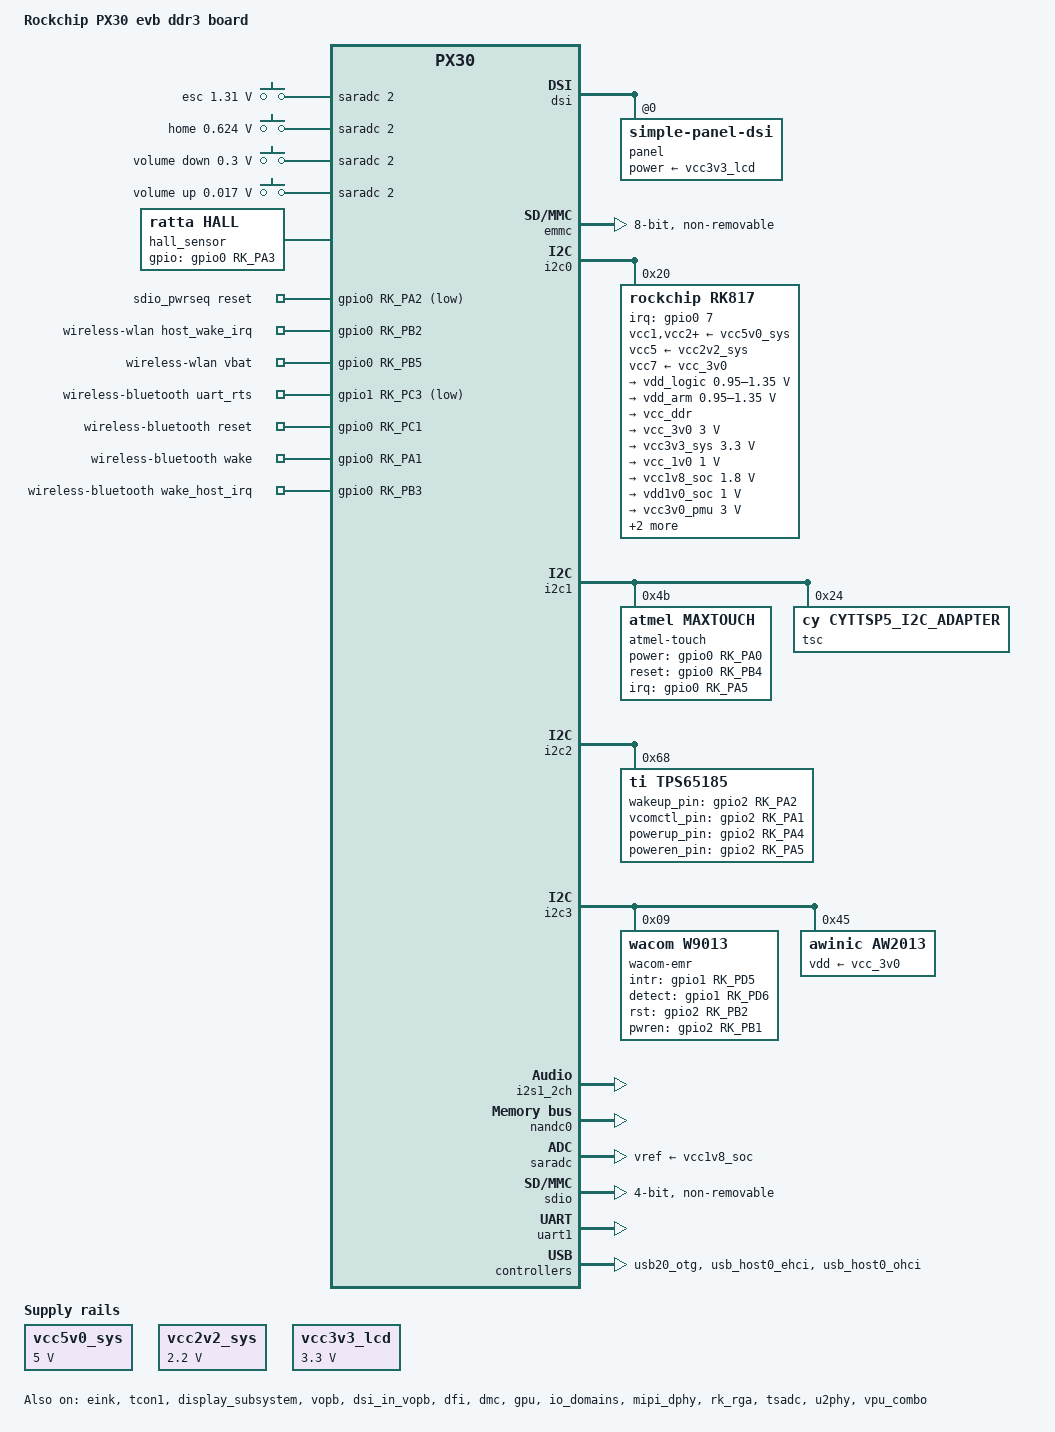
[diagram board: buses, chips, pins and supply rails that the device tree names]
/*
 * Copyright (c) 2017 Fuzhou Rockchip Electronics Co., Ltd
 *
 * SPDX-License-Identifier: (GPL-2.0+ OR MIT)
 */

/dts-v1/;
#include <dt-bindings/gpio/gpio.h>
#include <dt-bindings/pinctrl/rockchip.h>
#include <dt-bindings/input/input.h>
#include <dt-bindings/display/drm_mipi_dsi.h>
#include <dt-bindings/sensor-dev.h>
#include "px30.dtsi"
#include "px30-android.dtsi"
#include "px30-eink.dtsi"

/ {
	model = "Rockchip PX30 evb ddr3 board";
	compatible = "rockchip,px30-evb-ddr3-v10-eink", "rockchip,px30";

	adc-keys {
		compatible = "adc-keys";
		io-channels = <&saradc 2>;
		io-channel-names = "buttons";
		poll-interval = <100>;
		keyup-threshold-microvolt = <1800000>;
		status = "okay";

		esc-key {
			linux,code = <KEY_ESC>;
			label = "esc";
			press-threshold-microvolt = <1310000>;
		};

		home-key {
			linux,code = <KEY_HOME>;
			label = "home";
			press-threshold-microvolt = <624000>;
		};

/*
		menu-key {
			linux,code = <KEY_MENU>;
			label = "menu";
			press-threshold-microvolt = <987000>;
		};
*/

		vol-down-key {
			linux,code = <KEY_VOLUMEDOWN>;
			label = "volume down";
			press-threshold-microvolt = <300000>;
		};

		vol-up-key {
			linux,code = <KEY_VOLUMEUP>;
			label = "volume up";
			press-threshold-microvolt = <17000>;
		};
	};

	hall_sensor {
		compatible =  "ratta,hall";
		pinctrl-names = "default";
		pinctrl-0 = <&hall_sensor_gpio>;
		gpios = <&gpio0 RK_PA3 GPIO_ACTIVE_HIGH>;
		status = "okay";
	};

	pwm_leds {
		compatible = "pwm-leds";
		status = "disabled";

		blue {
			label = "blue";
			pwms = <&pwm0 0 10000000 0>;
			max-brightness = <255>;
			linux,default-trigger = "default-on";
		};

		green {
			label = "green";
			pwms = <&pwm1 0 10000000 0>;
			max-brightness = <255>;
			linux,default-trigger = "default-on";
		};

		red {
			label = "red";
			pwms = <&pwm2 0 10000000 0>;
			max-brightness = <255>;
			linux,default-trigger = "default-on";
		};
	};

	rk809-sound {
		compatible = "simple-audio-card";
		simple-audio-card,format = "i2s";
		simple-audio-card,name = "rockchip,rk809-codec";
		simple-audio-card,mclk-fs = <256>;
		simple-audio-card,widgets =
			"Microphone", "Mic Jack",
			"Headphone", "Headphone Jack";
		simple-audio-card,routing =
			"Mic Jack", "MICBIAS1",
			"IN1P", "Mic Jack",
			"Headphone Jack", "HPOL",
			"Headphone Jack", "HPOR";
		simple-audio-card,cpu {
			sound-dai = <&i2s1_2ch>;
		};
		simple-audio-card,codec {
			sound-dai = <&rk809_codec>;
		};
	};

	rk_headset {
		compatible = "rockchip_headset";
		status = "disabled";
		headset_gpio = <&gpio2 RK_PB0 GPIO_ACTIVE_LOW>;
		pinctrl-names = "default";
		pinctrl-0 = <&hp_det>;
		io-channels = <&saradc 1>;
	};

	sdio_pwrseq: sdio-pwrseq {
		compatible = "mmc-pwrseq-simple";
		/*clocks = <&rk809 1>;*/
		/*clock-names = "ext_clock";*/
		pinctrl-names = "default";
		pinctrl-0 = <&wifi_enable_h>;

		/*
		 * On the module itself this is one of these (depending
		 * on the actual card populated):
		 * - SDIO_RESET_L_WL_REG_ON
		 * - PDN (power down when low)
		 */
		reset-gpios = <&gpio0 RK_PA2 GPIO_ACTIVE_LOW>; /* GPIO3_A4 */
	};

	vcc5v0_sys: vccsys {
		compatible = "regulator-fixed";
		regulator-name = "vcc5v0_sys";
		regulator-always-on;
		regulator-boot-on;
		regulator-min-microvolt = <5000000>;
		regulator-max-microvolt = <5000000>;
	};

	vcc2v2_sys: vccsys_2v2 {
		compatible = "regulator-fixed";
		regulator-name = "vcc2v2_sys";
		regulator-always-on;
		regulator-boot-on;
		regulator-min-microvolt = <2200000>;
		regulator-max-microvolt = <2200000>;
	};

	vcc3v3_lcd: vcc3v3_lcd {
		compatible = "regulator-fixed";
		regulator-name = "vcc3v3_lcd";
		regulator-always-on;
		regulator-boot-on;
		regulator-min-microvolt = <3300000>;
		regulator-max-microvolt = <3300000>;
	};

	wireless-wlan {
		compatible = "wlan-platdata";
		pinctrl-names = "default";
		pinctrl-0 = <&uart0_rts_gpio>;
		wifi_chip_type = "AP6256";
		WIFI,host_wake_irq = <&gpio0 RK_PB2 GPIO_ACTIVE_HIGH>;
		WIFI,vbat_gpio = <&gpio0 RK_PB5 GPIO_ACTIVE_HIGH>;
		status = "okay";
	};

	wireless-bluetooth {
		compatible = "bluetooth-platdata";
		clocks = <&rk817 1>;
		clock-names = "ext_clock";
		uart_rts_gpios = <&gpio1 RK_PC3 GPIO_ACTIVE_LOW>;
		pinctrl-names = "default","rts_gpio";
		pinctrl-0 = <&uart1_rts &bt_gpios>;
		pinctrl-1 = <&uart1_rts_gpio>;
		BT,reset_gpio = <&gpio0 RK_PC1 GPIO_ACTIVE_HIGH>;
		BT,wake_gpio = <&gpio0 RK_PA1 GPIO_ACTIVE_HIGH>;
		BT,wake_host_irq = <&gpio0 RK_PB3 GPIO_ACTIVE_HIGH>;
		status = "okay";
	};
};

&eink {
	status = "okay";
	tcon = <&tcon1>;

	/* ED078KH4 */
	panel,width = <1872>;
	panel,height = <1404>;
	panel,vir_width = <1872>;
	panel,vir_height = <1404>;
	panel,sdck = <33300000>;
	panel,pixels-per-sdck = <8>;
	panel,lsl = <18>;
	panel,lbl = <17>;
	panel,ldl = <234>;
	panel,lel = <7>;
	panel,gdck-sta = <34>;
	panel,lgonl = <192>;
	panel,fsl = <1>;
	panel,fbl = <4>;
	panel,fdl = <1404>;
	panel,fel = <12>;
	panel,vcom-mv = <1560>;

	/* ES103TC1 */
	/*panel,width = <1872>;
	panel,height = <1404>;
	panel,vir_width = <1872>;
	panel,vir_height = <1404>;
	panel,sdck = <33300000>;
	panel,pixels-per-sdck = <8>;
	panel,lsl = <11>;
	panel,lbl = <8>;
	panel,ldl = <234>;
	panel,lel = <23>;
	panel,gdck-sta = <10>;
	panel,lgonl = <215>;
	panel,fsl = <1>;
	panel,fbl = <4>;
	panel,fdl = <1404>;
	panel,fel = <12>;
	panel,vcom-mv = <1560>;*/

	/* ED097TC2U1 */
	/*panel,width = <1200>;
	panel,height = <825>;
	panel,vir_width = <1200>;
	panel,vir_height = <825>;
	panel,sdck = <25000000>;
	panel,pixels-per-sdck = <4>;
	panel,lsl = <4>;
	panel,lbl = <4>;
	panel,ldl = <300>;
	panel,lel = <36>;
	panel,gdck-sta = <18>;
	panel,lgonl = <265>;
	panel,fsl = <2>;
	panel,fbl = <4>;
	panel,fdl = <825>;
	panel,fel = <24>;
	panel,vcom-mv = <1930>;*/
};

&tcon1 {
	status = "okay";
};

&display_subsystem {
	force-disconnected;
	status = "okay";
};

&vopb {
	status = "okay";
};

&vopb_mmu {
	status = "okay";
};

&vopl {
	status = "disabled";
};

&vopl_mmu {
	status = "disabled";
};

&dsi {
	status = "okay";

	panel@0 {
		compatible = "simple-panel-dsi";
		reg = <0>;
		power-supply = <&vcc3v3_lcd>;
		prepare-delay-ms = <2>;
		reset-delay-ms = <1>;
		init-delay-ms = <20>;
		enable-delay-ms = <120>;
		disable-delay-ms = <50>;
		unprepare-delay-ms = <20>;

		width-mm = <68>;
		height-mm = <121>;

		dsi,flags = <(MIPI_DSI_MODE_VIDEO | MIPI_DSI_MODE_VIDEO_BURST |
			      MIPI_DSI_MODE_LPM | MIPI_DSI_MODE_EOT_PACKET)>;
		dsi,format = <MIPI_DSI_FMT_RGB888>;
		dsi,lanes = <4>;

		display-timings {
			native-mode = <&timing0>;

			timing0: timing0 {
				clock-frequency = <64000000>;
				hactive = <720>;
				vactive = <1280>;
				hfront-porch = <40>;
				hsync-len = <10>;
				hback-porch = <40>;
				vfront-porch = <22>;
				vsync-len = <4>;
				vback-porch = <11>;
				hsync-active = <0>;
				vsync-active = <0>;
				de-active = <0>;
				pixelclk-active = <0>;
			};
		};
	};
};

&dsi_in_vopl {
	status = "disabled";
};

&dsi_in_vopb {
        status = "okay";
};

&route_dsi {
	status = "disabled";
};

&bus_apll {
	bus-supply = <&vdd_logic>;
	status = "okay";
};

&cpu0 {
	cpu-supply = <&vdd_arm>;
};

&debug_uart {
		rockchip,baudrate = <115200>;  /* Only 115200 and 1500000 */
};

&dfi {
	status = "okay";
};

&dmc {
	center-supply = <&vdd_logic>;
	status = "okay";
};

&emmc {
	bus-width = <8>;
	cap-mmc-highspeed;
	mmc-hs200-1_8v;
	supports-emmc;
	disable-wp;
	non-removable;
	num-slots = <1>;
	status = "okay";
};

&gpu {
	mali-supply = <&vdd_logic>;
	status = "okay";
};

&i2c0 {
	status = "okay";

	rk817: pmic@20 {
		compatible = "rockchip,rk817";
		reg = <0x20>;
		interrupt-parent = <&gpio0>;
		interrupts = <7 IRQ_TYPE_LEVEL_LOW>;
		pinctrl-names = "default", "pmic-sleep";
				//"pmic-power-off", "pmic-reset";
		pinctrl-0 = <&pmic_int>, <&rk817_pin_gt>;
		pinctrl-1 = <&soc_slppin_slp>, <&rk817_slppin_slp>;
		//pinctrl-2 = <&soc_slppin_gpio>, <&rk817_slppin_pwrdn>;
		//pinctrl-3 = <&soc_slppin_rst>, <&rk817_slppin_rst>;
		rockchip,system-power-controller;
		wakeup-source;
		#clock-cells = <1>;
		clock-output-names = "rk808-clkout1", "rk808-clkout2";
		//fb-inner-reg-idxs = <2>;
		/* 1: rst regs (default in codes), 0: rst the pmic */
		pmic-reset-func = <1>;
		pmic-sleep-reverse;

		vcc1-supply = <&vcc5v0_sys>;
		vcc2-supply = <&vcc5v0_sys>;
		vcc3-supply = <&vcc5v0_sys>;
		vcc4-supply = <&vcc5v0_sys>;
		vcc5-supply = <&vcc2v2_sys>;
		vcc6-supply = <&vcc5v0_sys>;
		vcc7-supply = <&vcc_3v0>;
		vcc8-supply = <&vcc5v0_sys>;
		vcc9-supply = <&vcc5v0_sys>;

		pwrkey {
			status = "okay";
		};

		pinctrl_rk8xx: pinctrl_rk8xx {
			gpio-controller;
			#gpio-cells = <2>;

			rk817_ts_gpio1: rk817_ts_gpio1 {
				pins = "gpio_ts";
				function = "pin_fun1";
				/* output-low; */
				/* input-enable; */
			};

			rk817_gt_gpio2: rk817_gt_gpio2 {
				pins = "gpio_gt";
				function = "pin_fun1";
			};

			rk817_pin_ts: rk817_pin_ts {
				pins = "gpio_ts";
				function = "pin_fun0";
			};

			rk817_pin_gt: rk817_pin_gt {
				pins = "gpio_gt";
				function = "pin_fun0";
			};

			rk817_slppin_null: rk817_slppin_null {
				pins = "gpio_slp";
				function = "pin_fun0";
			};

			rk817_slppin_slp: rk817_slppin_slp {
				pins = "gpio_slp";
				function = "pin_fun1";
			};

			rk817_slppin_pwrdn: rk817_slppin_pwrdn {
				pins = "gpio_slp";
				function = "pin_fun2";
			};

			rk817_slppin_rst: rk817_slppin_rst {
				pins = "gpio_slp";
				function = "pin_fun3";
			};
		};

		regulators {
			vdd_logic: DCDC_REG1 {
				regulator-always-on;
				regulator-boot-on;
				regulator-min-microvolt = <950000>;
				regulator-max-microvolt = <1350000>;
				regulator-ramp-delay = <6001>;
				regulator-initial-mode = <0x2>;
				regulator-name = "vdd_logic";
				regulator-state-mem {
					regulator-on-in-suspend;
					regulator-suspend-microvolt = <950000>;
				};
			};

			vdd_arm: DCDC_REG2 {
				regulator-always-on;
				regulator-boot-on;
				regulator-min-microvolt = <950000>;
				regulator-max-microvolt = <1350000>;
				regulator-ramp-delay = <6001>;
				regulator-initial-mode = <0x2>;
				regulator-name = "vdd_arm";
				regulator-state-mem {
					regulator-off-in-suspend;
					regulator-suspend-microvolt = <950000>;
				};
			};

			vcc_ddr: DCDC_REG3 {
				regulator-always-on;
				regulator-boot-on;
				regulator-name = "vcc_ddr";
				regulator-initial-mode = <0x2>;
				regulator-state-mem {
					regulator-on-in-suspend;
				};
			};

			vcc_3v0: DCDC_REG4 {
				regulator-always-on;
				regulator-boot-on;
				regulator-min-microvolt = <3000000>;
				regulator-max-microvolt = <3000000>;
				regulator-initial-mode = <0x2>;
				regulator-name = "vcc_3v0";
				regulator-state-mem {
					regulator-on-in-suspend;
					regulator-suspend-microvolt = <3000000>;
				};
			};

			vcc3v3_sys: DCDC_REG5 {
				regulator-always-on;
				regulator-boot-on;
				regulator-min-microvolt = <3300000>;
				regulator-max-microvolt = <3300000>;
				regulator-name = "vcc3v3_sys";
				regulator-state-mem {
					regulator-on-in-suspend;
					regulator-suspend-microvolt = <3300000>;
				};
			};

			vcc_1v0: LDO_REG1 {
				regulator-always-on;
				regulator-boot-on;
				regulator-min-microvolt = <1000000>;
				regulator-max-microvolt = <1000000>;
				regulator-name = "vcc_1v0";
				regulator-state-mem {
					regulator-off-in-suspend;
					regulator-suspend-microvolt = <1000000>;
				};
			};

			vcc1v8_soc: LDO_REG2 {
				regulator-always-on;
				regulator-boot-on;
				regulator-min-microvolt = <1800000>;
				regulator-max-microvolt = <1800000>;

				regulator-name = "vcc1v8_soc";
				regulator-state-mem {
					regulator-on-in-suspend;
					regulator-suspend-microvolt = <1800000>;
				};
			};

			vdd1v0_soc: LDO_REG3 {
				regulator-always-on;
				regulator-boot-on;
				regulator-min-microvolt = <1000000>;
				regulator-max-microvolt = <1000000>;

				regulator-name = "vcc1v0_soc";
				regulator-state-mem {
					regulator-on-in-suspend;
					regulator-suspend-microvolt = <1000000>;
				};
			};

			vcc3v0_pmu: LDO_REG4 {
				regulator-always-on;
				regulator-boot-on;
				regulator-min-microvolt = <3000000>;
				regulator-max-microvolt = <3000000>;

				regulator-name = "vcc3v0_pmu";
				regulator-state-mem {
					regulator-on-in-suspend;
					regulator-suspend-microvolt = <3000000>;

				};
			};

			vccio_sd: LDO_REG5 {
				regulator-always-on;
				regulator-boot-on;
				regulator-min-microvolt = <1800000>;
				regulator-max-microvolt = <3300000>;

				regulator-name = "vccio_sd";
				regulator-state-mem {
					regulator-on-in-suspend;
					regulator-suspend-microvolt = <3300000>;
				};
			};

			vcc_sd: LDO_REG6 {
				regulator-min-microvolt = <3300000>;
				regulator-max-microvolt = <3300000>;

				regulator-name = "vcc_sd";
				regulator-state-mem {
					regulator-on-in-suspend;
					regulator-suspend-microvolt = <3300000>;

				};
			};

			vcc2v8_dvp: LDO_REG7 {
				regulator-always-on;
				regulator-boot-on;
				regulator-min-microvolt = <2800000>;
				regulator-max-microvolt = <2800000>;

				regulator-name = "vcc2v8_dvp";
				regulator-state-mem {
					regulator-off-in-suspend;
					regulator-suspend-microvolt = <2800000>;
				};
			};

			vcc1v8_dvp: LDO_REG8 {
				regulator-always-on;
				regulator-boot-on;
				regulator-min-microvolt = <1800000>;
				regulator-max-microvolt = <1800000>;

				regulator-name = "vcc1v8_dvp";
				regulator-state-mem {
					regulator-on-in-suspend;
					regulator-suspend-microvolt = <1800000>;
				};
			};

			vdd1v5_dvp: LDO_REG9 {
				regulator-always-on;
				regulator-boot-on;
				regulator-min-microvolt = <1500000>;
				regulator-max-microvolt = <1500000>;

				regulator-name = "vdd1v5_dvp";
				regulator-state-mem {
					regulator-off-in-suspend;
					regulator-suspend-microvolt = <1500000>;
				};
			};

			vcc5v0_host: SWITCH_REG1 {
				regulator-name = "vcc5v0_host";
			};

			SWITCH_REG2 {
				regulator-boot-on;
				regulator-name = "vcc3v3_lcd";
			};
		};

		battery {
			compatible = "rk817,battery";
			ocv_table = <3400 3657 3680 3706 3732 3749 3763
				3776 3790 3807 3828 3857 3907 3949
				3976 4040 4081 4133 4186 4242 4308>;
			design_capacity = <2900>;
			design_qmax = <3190>;
			bat_res = <110>;
			sleep_enter_current = <150>;
			sleep_exit_current = <180>;
			sleep_filter_current = <100>;
			power_off_thresd = <3400>;
			zero_algorithm_vol = <3950>;
			max_soc_offset = <60>;
			monitor_sec = <5>;
			sample_res = <10>;
			bat_res_up = <140>;
			bat_res_down = <20>;
			virtual_power = <0>;
		};

		charger {
			compatible = "rk817,charger";
			min_input_voltage = <4500>;
			max_input_current = <3000>;
			max_chrg_current = <2000>;
			max_chrg_voltage = <4350>;
			chrg_term_mode = <0>;
			chrg_finish_cur = <100>;
			virtual_power = <0>;
			dc_det_adc = <0>;
			extcon = <&u2phy>;
		};

		rk809_codec: codec {
			#sound-dai-cells = <0>;
			compatible = "rockchip,rk809-codec", "rockchip,rk817-codec";
			clocks = <&cru SCLK_I2S1_OUT>;
			clock-names = "mclk";
			pinctrl-names = "default";
			pinctrl-0 = <&i2s1_2ch_mclk>;
			hp-volume = <20>;
			spk-volume = <3>;
			status = "okay";
		};
	};
};

#define MXT_SUSPEND_DEEP_SLEEP 0
&i2c1 {
	status = "okay";

	atmel-touch@4b {
		compatible = "atmel,maxtouch";
		reg = <0x4b>;
		status = "okay";
		interrupt-parent = <&gpio0>;
		interrupts = <RK_PA5 IRQ_TYPE_EDGE_FALLING>;
		pinctrl-names = "default";
		pinctrl-0 = <&touch_panel_gpio>;
		atmel,power-gpio =<&gpio0 RK_PA0 GPIO_ACTIVE_HIGH>;
		atmel,reset-gpio = <&gpio0 RK_PB4 GPIO_ACTIVE_HIGH>;
		atmel,suspend-mode = <MXT_SUSPEND_DEEP_SLEEP>;
		atmel,cfg_name="maxtouch.cfg";

	};

	tsc@24 {
		compatible = "cy,cyttsp5_i2c_adapter";
		reg = <0x24>;
		/*interrupts = <GIC_SPI 7 IRQ_TYPE_LEVEL_HIGH>;*/
		cy,adapter_id = "cyttsp5_i2c_adapter";
		status = "okay";
		pinctrl-names = "default";
		pinctrl-0 = <&cyttsp_gpio>;
		
		cy,core {
			cy,name = "cyttsp5_core";
			cy,irq_gpio =  <&gpio0 RK_PA5 GPIO_ACTIVE_HIGH>;
			cy,rst_gpio =  <&gpio0 RK_PB4 GPIO_ACTIVE_HIGH>;
			cy,pwr_gpio =  <&gpio0 RK_PA0 GPIO_ACTIVE_HIGH>;
			cy,hid_desc_register = <1>;
			/* CY_CORE_FLAG_RESTORE_PARAMETERS */
			/* CY_CORE_FLAG_POWEROFF_ON_SLEEP */
			cy,flags = <4>;
			/* CY_CORE_EWG_NONE */
			cy,easy_wakeup_gesture = <0>;
			cy,btn_keys = <172 /* KEY_HOMEPAGE */
				   	   /* previously was KEY_HOME, new Android versions use KEY_HOMEPAGE */
			               139 /* KEY_MENU */
			               158 /* KEY_BACK */
			               217 /* KEY_SEARCH */
			               114 /* KEY_VOLUMEDOWN */
			               115 /* KEY_VOLUMEUP */
			               212 /* KEY_CAMERA */
			               116>; /* KEY_POWER */
			cy,btn_keys-tag = <0>;

			cy,mt {
				cy,name = "cyttsp5_mt";
				cy,inp_dev_name = "cyttsp5_mt";
				cy,flags = <0xF8>;
				cy,abs =
					/* ABS_MT_POSITION_X, CY_ABS_MIN_X, CY_ABS_MAX_X, 0, 0 */
					<0x35 0 1872 0 0
					/* ABS_MT_POSITION_Y, CY_ABS_MIN_Y, CY_ABS_MAX_Y, 0, 0 */
					0x36 0 1404 0 0
					/* ABS_MT_PRESSURE, CY_ABS_MIN_P, CY_ABS_MAX_P, 0, 0 */
					0x3a 0 255 0 0
					/* CY_IGNORE_VALUE, CY_ABS_MIN_W, CY_ABS_MAX_W, 0, 0 */
					0xffff 0 255 0 0
					/* ABS_MT_TRACKING_ID, CY_ABS_MIN_T, CY_ABS_MAX_T, 0, 0 */
					0x39 0 15 0 0
					/* ABS_MT_TOUCH_MAJOR, 0, 255, 0, 0 */
					0x30 0 255 0 0
					/* ABS_MT_TOUCH_MINOR, 0, 255, 0, 0 */
					0x31 0 255 0 0
					/* ABS_MT_ORIENTATION, -127, 127, 0, 0 */
					0x34 0xffffff81 127 0 0
					/* ABS_MT_TOOL_TYPE, 0, MT_TOOL_MAX, 0, 0 */
					0x37 0 1 0 0
					/* ABS_DISTANCE, 0, 255, 0, 0 */
					0x19 0 255 0 0>;

				cy,vkeys_x = <1350>;
				cy,vkeys_y = <1872>;

				cy,virtual_keys = /* KeyCode CenterX CenterY Width Height */
					/* KEY_BACK */
					<158 1360 90 160 180
					/* KEY_MENU */
					139 1360 270 160 180
					/* KEY_HOMEPAGE */
					172 1360 450 160 180
					/* KEY SEARCH */
					217 1360 630 160 180>;
			};
		};	
	};

	gt1x: gt1x@14 {
		status = "disabled";
		compatible = "goodix,gt1x";
		reg = <0x14>;
		power-supply = <&vcc3v3_lcd>;
		goodix,rst-gpio = <&gpio0 RK_PB4 GPIO_ACTIVE_HIGH>;
		goodix,irq-gpio = <&gpio0 RK_PA5 IRQ_TYPE_LEVEL_LOW>;
	};

	sensor@4c {
		status = "disabled";
		compatible = "gs_mma7660";
		reg = <0x4c>;
		type = <SENSOR_TYPE_ACCEL>;
		irq-gpio = <&gpio0 RK_PB7 IRQ_TYPE_LEVEL_LOW>;
		irq_enable = <0>;
		poll_delay_ms = <30>;
		layout = <2>;
		reprobe_en = <1>;
	};
};

&i2c2 {
	status = "okay";

	tps65185@68 {
		status = "okay";
		compatible = "ti,tps65185";
		reg = <0x68>;
		pinctrl-names = "default";
		pinctrl-0 = <&tps65185_gpio>;
		wakeup_pin = <&gpio2 RK_PA2 GPIO_ACTIVE_HIGH>;
		vcomctl_pin = <&gpio2 RK_PA1 GPIO_ACTIVE_HIGH>;
		powerup_pin = <&gpio2 RK_PA4 GPIO_ACTIVE_HIGH>;
		poweren_pin = <&gpio2 RK_PA5 GPIO_ACTIVE_HIGH>;
	};
};

&i2c3 {
	status = "okay";

	wacom-emr@09 {
		compatible = "wacom,w9013";
		reg = <0x09>;
		status = "okay";
		pinctrl-names = "default";
		pinctrl-0 = <&wacom_emr_gpio>;
		gpio_intr = <&gpio1 RK_PD5 GPIO_ACTIVE_HIGH>;
		gpio_detect = <&gpio1 RK_PD6 GPIO_ACTIVE_HIGH>;
		gpio_rst = <&gpio2 RK_PB2 GPIO_ACTIVE_HIGH>;
		gpio_pwren = <&gpio2 RK_PB1 GPIO_ACTIVE_HIGH>;
	};

	awinic: aw2013@45{
		compatible = "awinic,aw2013";
		reg = <0x45>;
		vdd-supply = <&vcc_3v0>;
		pinctrl-names = "default";
		pinctrl-0 = <&awinic_gpio>;
		
		aw2013,red {
			aw2013,name = "red";
			aw2013,id = <0>;
			aw2013,max-brightness = <255>;
			aw2013,max-current = <1>;
			aw2013,rise-time-ms = <2>;
			aw2013,hold-time-ms = <1>;
			aw2013,fall-time-ms = <2>;
			aw2013,off-time-ms = <1>;
		};

		aw2013,green {
			aw2013,name = "green";
			aw2013,id = <1>;
			aw2013,max-brightness = <255>;
			aw2013,max-current = <1>;
			aw2013,rise-time-ms = <2>;
			aw2013,hold-time-ms = <1>;
			aw2013,fall-time-ms = <2>;
			aw2013,off-time-ms = <1>;
		};

		aw2013,blue {
			aw2013,name = "blue";
			aw2013,id = <2>;
			aw2013,max-brightness = <255>;
			aw2013,max-current = <1>;
			aw2013,rise-time-ms = <2>;
			aw2013,hold-time-ms = <1>;
			aw2013,fall-time-ms = <2>;
			aw2013,off-time-ms = <1>;
		};
	};
};

&i2s1_2ch {
	status = "okay";
	#sound-dai-cells = <0>;
};

&io_domains {
	status = "okay";

	vccio1-supply = <&vcc1v8_dvp>;
	vccio2-supply = <&vcc1v8_dvp>;
	vccio3-supply = <&vcc_3v0>;
	vccio4-supply = <&vcc2v8_dvp>;
	vccio5-supply = <&vcc1v8_dvp>;
};

&isp_mmu {
	status = "disabled";
};

&mipi_dphy {
	status = "okay";
};

&nandc0 {
	status = "okay";
};

&pinctrl {
	headphone {
		hp_det: hp-det {
			rockchip,pins = <2 RK_PB0 RK_FUNC_GPIO &pcfg_pull_down>;
		};
	};

	tps_pmic {
		tps65185_gpio: tps65185-gpio {
			rockchip,pins =
				/* E_PMIC_INT */
				<2 RK_PA0 RK_FUNC_GPIO &pcfg_pull_up>,
				/* E_PMIC_VCOM_CTL */
				<2 RK_PA1 RK_FUNC_GPIO &pcfg_pull_up>,
				/* E_PMIC_WAKEUP */
				<2 RK_PA2 RK_FUNC_GPIO &pcfg_pull_up>,
				/* E_PMIC_PG */
				<2 RK_PA3 RK_FUNC_GPIO &pcfg_pull_up>,
				/* E_PMIC_ON/PWRUP */
				<2 RK_PA4 RK_FUNC_GPIO &pcfg_pull_up>,
				/* E_PWR_EN */
				<2 RK_PA5 RK_FUNC_GPIO &pcfg_pull_up>;
		};
	};

	input-dev {
		wacom_emr_gpio: wacom-emr-gpio {
			rockchip,pins =
				/* EMR_INT */
				<2 RK_PB2 RK_FUNC_GPIO &pcfg_pull_up>,
				/* EMR_RST */
				<1 RK_PD5 RK_FUNC_GPIO &pcfg_pull_up>,
				/* EMR_PDCTB */
				<1 RK_PD6 RK_FUNC_GPIO &pcfg_pull_up>,
				/* EMR_PWR_EN */
				<2 RK_PB1 RK_FUNC_GPIO &pcfg_pull_up>;
		};

		touch_panel_gpio: touch-panel-gpio {
			rockchip,pins =
				/* TP_INT */
				<0 RK_PA5 RK_FUNC_GPIO &pcfg_pull_up>,
				/* TP_RST */
				<0 RK_PB4 RK_FUNC_GPIO &pcfg_pull_down>,
				/* TP_PWR_EN */
				<0 RK_PA0 RK_FUNC_GPIO &pcfg_pull_down>;
		};

		cyttsp_gpio: cyttsp-gpio {
			rockchip,pins =
				/* TP_INT */
				<0 RK_PA5 RK_FUNC_GPIO &pcfg_pull_up>,
				/* TP_RST */
				<0 RK_PB4 RK_FUNC_GPIO &pcfg_pull_down>,
				/* TP_PWR_EN */
				<0 RK_PA0 RK_FUNC_GPIO &pcfg_pull_down>;
		};

		hall_sensor_gpio: hall-sensor-gpio {
			rockchip,pins =
				<0 RK_PA3 RK_FUNC_GPIO &pcfg_pull_up>;
		};
	};

	pmic {
		pmic_int: pmic_int {
			rockchip,pins =
				<0 RK_PA7 RK_FUNC_GPIO &pcfg_pull_up>;
		};

		soc_slppin_gpio: soc_slppin_gpio {
			rockchip,pins =
				<0 RK_PA4 RK_FUNC_GPIO &pcfg_output_low>;
		};

		soc_slppin_slp: soc_slppin_slp {
			rockchip,pins =
				<0 RK_PA4 RK_FUNC_1 &pcfg_pull_none>;
		};

		soc_slppin_rst: soc_slppin_rst {
			rockchip,pins =
				<0 RK_PA4 RK_FUNC_2 &pcfg_pull_none>;
		};
	};

	sdio-pwrseq {
		wifi_enable_h: wifi-enable-h {
			rockchip,pins = <0 RK_PA2 RK_FUNC_GPIO &pcfg_pull_none>;
		};
	};

	wireless {
		bt_gpios: bt-gpios {
			/* reset gpio */
			rockchip,pins =
				/* reset gpio */
				<0 RK_PC1 RK_FUNC_GPIO &pcfg_pull_down>,
				/* wake bt gpio */
				<0 RK_PA1 RK_FUNC_GPIO &pcfg_pull_down>,
				/* wake host gpio */
				<0 RK_PB3 RK_FUNC_GPIO &pcfg_pull_down>;
		};
	};
	
	led {
		awinic_gpio: awinic-gpio {
			rockchip,pins = <0 RK_PB7 RK_FUNC_GPIO &pcfg_pull_none>;
	       };
	};

};

&pmu_io_domains {
	status = "okay";

	pmuio1-supply = <&vcc3v0_pmu>;
	pmuio2-supply = <&vcc3v0_pmu>;
};

&pwm0 {
	status = "disabled";
};

&pwm1 {
	status = "disabled";
};

&pwm2 {
	status = "disabled";
};

&rk_rga {
	status = "okay";
};

&rockchip_suspend {
	status = "okay";
	rockchip,sleep-mode-config = <
		(0
		| RKPM_SLP_ARMOFF
		| RKPM_SLP_PMU_HW_PLLS_PD
		| RKPM_SLP_PMU_PMUALIVE_32K
		| RKPM_SLP_PMU_DIS_OSC
		| RKPM_SLP_PMIC_LP
		| RKPM_SLP_PIN_REVERSE
		)
	>;
	rockchip,ultra-sleep-mode-config = <RKPM_SLP_ULTRA>;
	rockchip,pwm-regulator-config = <RKPM_SLP_LDO2_ON>;
	rockchip,sleep-debug-en = <1>;
};

&saradc {
	status = "okay";
	vref-supply = <&vcc1v8_soc>;
};

&sdmmc {
	bus-width = <4>;
	cap-mmc-highspeed;
	cap-sd-highspeed;
	supports-sd;
	card-detect-delay = <800>;
	ignore-pm-notify;
	/*cd-gpios = <&gpio2 4 GPIO_ACTIVE_HIGH>; [> CD GPIO <]*/
	sd-uhs-sdr12;
	sd-uhs-sdr25;
	sd-uhs-sdr50;
	sd-uhs-sdr104;
	vqmmc-supply = <&vccio_sd>;
	vmmc-supply = <&vcc_sd>;
	status = "disabled";
};

&sdio {
	bus-width = <4>;
	cap-sd-highspeed;
	supports-sdio;
	ignore-pm-notify;
	keep-power-in-suspend;
	non-removable;
	mmc-pwrseq = <&sdio_pwrseq>;
	sd-uhs-sdr104;
	status = "okay";
};

&tsadc {
	pinctrl-names = "init", "default";
	pinctrl-0 = <&tsadc_otp_gpio>;
	pinctrl-1 = <&tsadc_otp_out>;
	status = "okay";
};

&uart1 {
	pinctrl-names = "default";
	pinctrl-0 = <&uart1_xfer &uart1_cts>;
	status = "okay";
};

&u2phy {
	status = "okay";

	u2phy_host: host-port {
		status = "okay";
	};

	u2phy_otg: otg-port {
		status = "okay";
	};
};

&usb20_otg {
	status = "okay";
};

&usb_host0_ehci {
	status = "okay";
};

&usb_host0_ohci {
	status = "okay";
};

&vpu_combo {
	status = "okay";
};

&firmware_android {
	compatible = "android,firmware";
	fstab {
		compatible = "android,fstab";
		system {
			compatible = "android,system";
			dev = "/dev/block/by-name/system";
			type = "ext4";
			mnt_flags = "ro,barrier=1,inode_readahead_blks=8";
			fsmgr_flags = "wait";
		};
		vendor {
			compatible = "android,vendor";
			dev = "/dev/block/by-name/vendor";
			type = "ext4";
			mnt_flags = "ro,barrier=1,inode_readahead_blks=8";
			fsmgr_flags = "wait";
		};
		oem {
			compatible = "android,oem";
			dev = "/dev/block/by-name/oem";
			type = "ext4";
			mnt_flags = "rw,noatime,nodiratime,noauto_da_alloc";
			fsmgr_flags = "wait,check";
		};
	};
};
